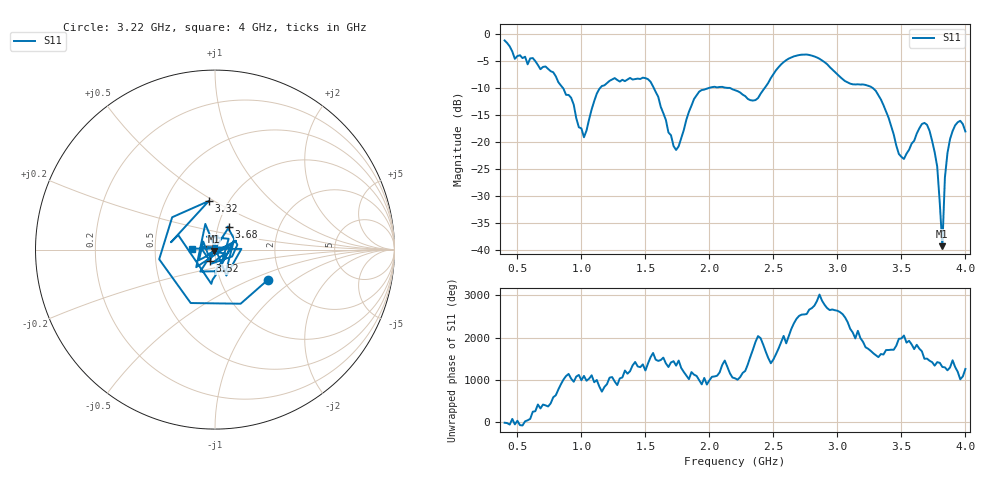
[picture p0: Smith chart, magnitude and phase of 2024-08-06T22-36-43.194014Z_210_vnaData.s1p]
!Created with skrf (http://scikit-rf.org).
# Hz S RI R 50.0
!freq ReS11 ImS11
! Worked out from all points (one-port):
!   181 points, 400 MHz to 4 GHz, reference 50 ohm
!   lowest |S11| = -39.3 dB at 3.82 GHz (marker M1), VSWR 1.02, Z = 49.2 - j0.756 ohm
!   |S11| at or under -10 dB: 857.3 MHz to 1.144 GHz (287.1 MHz wide, 28.7 % of centre); 1.567 GHz to 1.99 GHz (423 MHz wide, 23.8 % of centre); 3.279 GHz to end of sweep (the widest 3 of 4)
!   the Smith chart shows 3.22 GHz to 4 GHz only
!   S11 on the Smith chart (normalised r, x): 3.22 GHz: 1.68, -0.64; 3.32 GHz: 0.81, +0.47; 3.52 GHz: 0.94, -0.12; 3.68 GHz: 1.13, +0.30; 4 GHz: 0.78, +0.01
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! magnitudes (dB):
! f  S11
! 400 MHz  -1.1
! 480 MHz  -4.5
! 620 MHz  -4.4
! 860 MHz  -10.1
! 1.02 GHz  -19.1
! 1.14 GHz  -10.1
! 1.3 GHz  -8.8
! 1.54 GHz  -8.8
! 1.72 GHz  -20.7
! 1.76 GHz  -20.8
! 1.92 GHz  -10.6
! 2.2 GHz  -10.3
! 2.36 GHz  -12.2
! 2.66 GHz  -4.1
! 2.84 GHz  -4.3
! 3.1 GHz  -9.1
! 3.22 GHz  -9.4
! 3.32 GHz  -11.3
! 3.52 GHz  -23.1
! 3.56 GHz  -21.4
! 3.68 GHz  -16.4
! 3.72 GHz  -17.9
! 3.78 GHz  -24.6
! 3.82 GHz  -39.3
! 3.84 GHz  -26.5
! 3.88 GHz  -19.4
! 3.96 GHz  -16.0
! 4 GHz  -18.0
